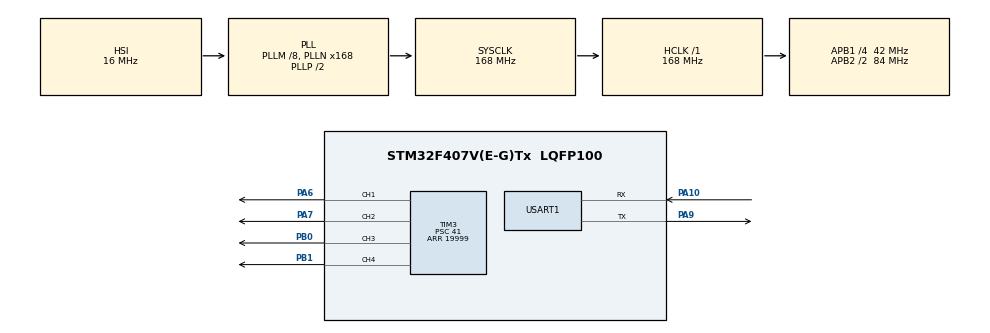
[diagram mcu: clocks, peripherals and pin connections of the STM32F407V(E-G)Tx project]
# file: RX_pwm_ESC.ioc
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Mcu.Family=STM32F4
Mcu.Name=STM32F407V(E-G)Tx
Mcu.Package=LQFP100
NVIC.PriorityGroup=NVIC_PRIORITYGROUP_4
NVIC.USART1_IRQn=true\:0\:0\:false\:false\:true\:true\:true\:true
PA10.Mode=Asynchronous
PA10.Signal=USART1_RX
PA13.Mode=Serial_Wire
PA13.Signal=SYS_JTMS-SWDIO
PA14.Mode=Serial_Wire
PA14.Signal=SYS_JTCK-SWCLK
PA6.Signal=S_TIM3_CH1
PA7.Signal=S_TIM3_CH2
PA9.Mode=Asynchronous
PA9.Signal=USART1_TX
PB0.Signal=S_TIM3_CH3
PB1.Signal=S_TIM3_CH4
PH0-OSC_IN.Mode=HSE-External-Oscillator
PH0-OSC_IN.Signal=RCC_OSC_IN
PH1-OSC_OUT.Mode=HSE-External-Oscillator
PH1-OSC_OUT.Signal=RCC_OSC_OUT
ProjectManager.HeapSize=0x200
ProjectManager.StackSize=0x400
ProjectManager.TargetToolchain=MDK-ARM V5.32
RCC.48MHZClocksFreq_Value=84000000
RCC.AHBFreq_Value=168000000
RCC.APB1CLKDivider=RCC_HCLK_DIV4
RCC.APB1Freq_Value=42000000
RCC.APB1TimFreq_Value=84000000
RCC.APB2CLKDivider=RCC_HCLK_DIV2
RCC.APB2Freq_Value=84000000
RCC.APB2TimFreq_Value=168000000
RCC.CortexFreq_Value=168000000
RCC.HCLKFreq_Value=168000000
RCC.HSE_VALUE=8000000
RCC.HSI_VALUE=16000000
RCC.LSE_VALUE=32768
RCC.PLLM=8
RCC.PLLN=168
RCC.SYSCLKFreq_VALUE=168000000
RCC.SYSCLKSource=RCC_SYSCLKSOURCE_PLLCLK
RCC.VCOOutputFreq_Value=336000000
SH.S_TIM3_CH1.0=TIM3_CH1,PWM Generation1 CH1
SH.S_TIM3_CH2.0=TIM3_CH2,PWM Generation2 CH2
SH.S_TIM3_CH3.0=TIM3_CH3,PWM Generation3 CH3
SH.S_TIM3_CH4.0=TIM3_CH4,PWM Generation4 CH4
TIM3.Channel-PWM\ Generation1\ CH1=TIM_CHANNEL_1
TIM3.Channel-PWM\ Generation2\ CH2=TIM_CHANNEL_2
TIM3.Channel-PWM\ Generation3\ CH3=TIM_CHANNEL_3
TIM3.Channel-PWM\ Generation4\ CH4=TIM_CHANNEL_4
TIM3.Period=19999
TIM3.Prescaler=41
USART1.VirtualMode=VM_ASYNC
board=custom

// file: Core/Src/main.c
/* USER CODE BEGIN Header */
/**
  ******************************************************************************
  * @file           : main.c
  * @brief          : Main program body
  ******************************************************************************
  * @attention
  *
  * Copyright (c) 2025 STMicroelectronics.
  * All rights reserved.
  *
  * This software is licensed under terms that can be found in the LICENSE file
  * in the root directory of this software component.
  * If no LICENSE file comes with this software, it is provided AS-IS.
  *
  ******************************************************************************
  */
/* USER CODE END Header */
#include "main.h"

/* USER CODE BEGIN Includes */
#include "mavlink.h"
#include "mavlink_msg_rc_channels.h"
#include "ring.h"
#include "mavlink_rx.h"
/* USER CODE END Includes */

TIM_HandleTypeDef htim3;

UART_HandleTypeDef huart1;

void SystemClock_Config(void);
static void MX_GPIO_Init(void);
static void MX_USART1_UART_Init(void);
static void MX_TIM3_Init(void);
/* USER CODE BEGIN PFP */
RINGBUF ring_rx;
uint8_t ring_buf_rx[256];
uint8_t mav_rx_buffer;
mavlink_message_t mav_msg;
mavlink_status_t mav_status;
uint16_t joystick_decode_rc[4];
//--------hz-------------//
uint32_t rc_last_time = 0;
uint32_t rc_period_ms = 0;
uint32_t hb_last_time = 0;
uint32_t hb_period_ms = 0;
uint32_t att_last_time = 0;
uint32_t att_period_ms = 0;
float hz_heartbeat;
float hz_rc;
float hz_att;
float roll = 0.0f, pitch = 0.0f, yaw = 0.0f;
/* USER CODE END PFP */

/* USER CODE BEGIN 0 */
void HAL_UART_RxCpltCallback(UART_HandleTypeDef *huart)
{
	if (huart->Instance == USART1)
	{
		RINGBUF_Put(&ring_rx, mav_rx_buffer);
		HAL_UART_Receive_IT(&huart1, &mav_rx_buffer, 1);
	}
}
/* USER CODE END 0 */

int main(void)
{

  /* MCU Configuration--------------------------------------------------------*/

  /* Reset of all peripherals, Initializes the Flash interface and the Systick. */
  HAL_Init();

  /* Configure the system clock */
  SystemClock_Config();

  /* Initialize all configured peripherals */
  MX_GPIO_Init();
  MX_USART1_UART_Init();
  MX_TIM3_Init();
  /* USER CODE BEGIN 2 */
	HAL_TIM_PWM_Start(&htim3, TIM_CHANNEL_1);
	HAL_TIM_PWM_Start(&htim3, TIM_CHANNEL_2);
	HAL_TIM_PWM_Start(&htim3, TIM_CHANNEL_3);
	HAL_TIM_PWM_Start(&htim3, TIM_CHANNEL_4);
	RINGBUF_Init(&ring_rx, ring_buf_rx, sizeof(ring_buf_rx));
	HAL_UART_Receive_IT(&huart1, &mav_rx_buffer, 1);
  /* USER CODE END 2 */

  /* Infinite loop */
  /* USER CODE BEGIN WHILE */
  while (1)
  {
		while (RINGBUF_Get(&ring_rx, &mav_rx_buffer) == RING_OK)
		{
			if (mavlink_parse_char(MAVLINK_COMM_0, mav_rx_buffer, &mav_msg, &mav_status))
			{
				mavlink_process_message(&mav_msg);
			}
		}
    /* USER CODE END WHILE */

  }
}

void SystemClock_Config(void)
{
  RCC_OscInitTypeDef RCC_OscInitStruct = {0};
  RCC_ClkInitTypeDef RCC_ClkInitStruct = {0};

  /** Configure the main internal regulator output voltage
  */
  __HAL_RCC_PWR_CLK_ENABLE();
  __HAL_PWR_VOLTAGESCALING_CONFIG(PWR_REGULATOR_VOLTAGE_SCALE1);

  /** Initializes the RCC Oscillators according to the specified parameters
  * in the RCC_OscInitTypeDef structure.
  */
  RCC_OscInitStruct.OscillatorType = RCC_OSCILLATORTYPE_HSI;
  RCC_OscInitStruct.HSIState = RCC_HSI_ON;
  RCC_OscInitStruct.HSICalibrationValue = RCC_HSICALIBRATION_DEFAULT;
  RCC_OscInitStruct.PLL.PLLState = RCC_PLL_ON;
  RCC_OscInitStruct.PLL.PLLSource = RCC_PLLSOURCE_HSI;
  RCC_OscInitStruct.PLL.PLLM = 8;
  RCC_OscInitStruct.PLL.PLLN = 168;
  RCC_OscInitStruct.PLL.PLLP = RCC_PLLP_DIV2;
  RCC_OscInitStruct.PLL.PLLQ = 4;
  if (HAL_RCC_OscConfig(&RCC_OscInitStruct) != HAL_OK)
  {
    Error_Handler();
  }

  /** Initializes the CPU, AHB and APB buses clocks
  */
  RCC_ClkInitStruct.ClockType = RCC_CLOCKTYPE_HCLK|RCC_CLOCKTYPE_SYSCLK
                              |RCC_CLOCKTYPE_PCLK1|RCC_CLOCKTYPE_PCLK2;
  RCC_ClkInitStruct.SYSCLKSource = RCC_SYSCLKSOURCE_PLLCLK;
  RCC_ClkInitStruct.AHBCLKDivider = RCC_SYSCLK_DIV1;
  RCC_ClkInitStruct.APB1CLKDivider = RCC_HCLK_DIV4;
  RCC_ClkInitStruct.APB2CLKDivider = RCC_HCLK_DIV2;

  if (HAL_RCC_ClockConfig(&RCC_ClkInitStruct, FLASH_LATENCY_5) != HAL_OK)
  {
    Error_Handler();
  }
}

static void MX_TIM3_Init(void)
{

  TIM_MasterConfigTypeDef sMasterConfig = {0};
  TIM_OC_InitTypeDef sConfigOC = {0};

  htim3.Instance = TIM3;
  htim3.Init.Prescaler = 41;
  htim3.Init.CounterMode = TIM_COUNTERMODE_UP;
  htim3.Init.Period = 19999;
  htim3.Init.ClockDivision = TIM_CLOCKDIVISION_DIV1;
  htim3.Init.AutoReloadPreload = TIM_AUTORELOAD_PRELOAD_DISABLE;
  if (HAL_TIM_PWM_Init(&htim3) != HAL_OK)
  {
    Error_Handler();
  }
  sMasterConfig.MasterOutputTrigger = TIM_TRGO_RESET;
  sMasterConfig.MasterSlaveMode = TIM_MASTERSLAVEMODE_DISABLE;
  if (HAL_TIMEx_MasterConfigSynchronization(&htim3, &sMasterConfig) != HAL_OK)
  {
    Error_Handler();
  }
  sConfigOC.OCMode = TIM_OCMODE_PWM1;
  sConfigOC.Pulse = 0;
  sConfigOC.OCPolarity = TIM_OCPOLARITY_HIGH;
  sConfigOC.OCFastMode = TIM_OCFAST_DISABLE;
  if (HAL_TIM_PWM_ConfigChannel(&htim3, &sConfigOC, TIM_CHANNEL_1) != HAL_OK)
  {
    Error_Handler();
  }
  if (HAL_TIM_PWM_ConfigChannel(&htim3, &sConfigOC, TIM_CHANNEL_2) != HAL_OK)
  {
    Error_Handler();
  }
  if (HAL_TIM_PWM_ConfigChannel(&htim3, &sConfigOC, TIM_CHANNEL_3) != HAL_OK)
  {
    Error_Handler();
  }
  if (HAL_TIM_PWM_ConfigChannel(&htim3, &sConfigOC, TIM_CHANNEL_4) != HAL_OK)
  {
    Error_Handler();
  }
  HAL_TIM_MspPostInit(&htim3);

}

static void MX_USART1_UART_Init(void)
{

  huart1.Instance = USART1;
  huart1.Init.BaudRate = 115200;
  huart1.Init.WordLength = UART_WORDLENGTH_8B;
  huart1.Init.StopBits = UART_STOPBITS_1;
  huart1.Init.Parity = UART_PARITY_NONE;
  huart1.Init.Mode = UART_MODE_TX_RX;
  huart1.Init.HwFlowCtl = UART_HWCONTROL_NONE;
  huart1.Init.OverSampling = UART_OVERSAMPLING_16;
  if (HAL_UART_Init(&huart1) != HAL_OK)
  {
    Error_Handler();
  }

}

static void MX_GPIO_Init(void)
{

  /* GPIO Ports Clock Enable */
  __HAL_RCC_GPIOH_CLK_ENABLE();
  __HAL_RCC_GPIOA_CLK_ENABLE();
  __HAL_RCC_GPIOB_CLK_ENABLE();

}

void Error_Handler(void)
{
  __disable_irq();
  while (1)
  {
  }
}
